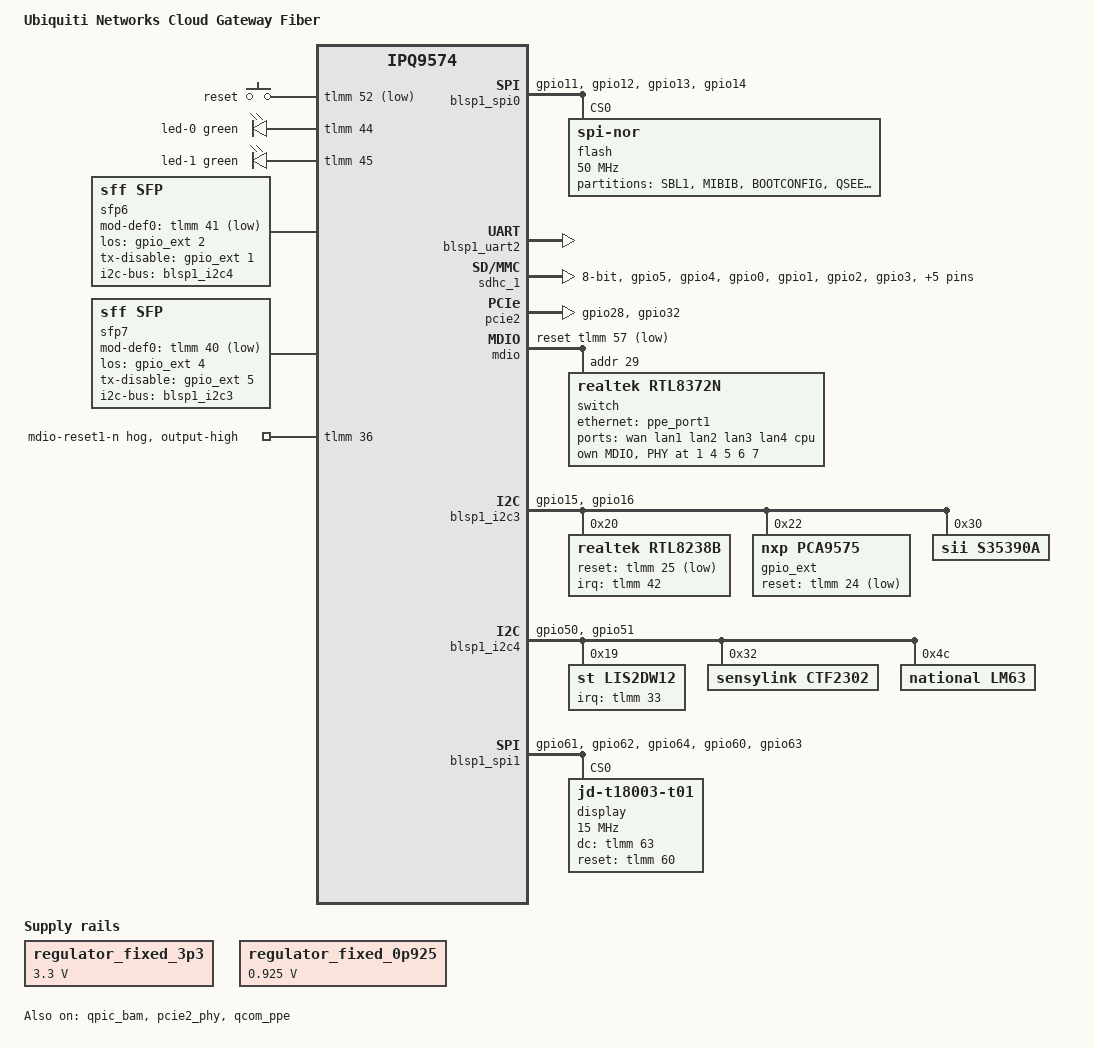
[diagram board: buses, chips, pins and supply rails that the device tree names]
// SPDX-License-Identifier: (GPL-2.0+ OR BSD-3-Clause)
/* UniFi Fiber Gateway
 *
 * Copyright (c) 2020-2021 The Linux Foundation. All rights reserved.
 * Copyright (c) 2022-2023 Qualcomm Innovation Center, Inc. All rights reserved.
 */

/dts-v1/;

#include <dt-bindings/gpio/gpio.h>
#include <dt-bindings/input/input.h>
#include <dt-bindings/leds/common.h>
#include "ipq9574.dtsi"

/ {
	model = "Ubiquiti Networks Cloud Gateway Fiber";
	compatible = "ubnt,ucgfiber", "qcom,ipq9574-ap-al02-c18", "qcom,ipq9574-al02", "qcom,ipq9574";

	aliases {
		serial0 = &blsp1_uart2;
	};

	chosen {
		stdout-path = "serial0:115200n8";
	};

	regulator_fixed_3p3: s3300 {
		compatible = "regulator-fixed";
		regulator-min-microvolt = <3300000>;
		regulator-max-microvolt = <3300000>;
		regulator-boot-on;
		regulator-always-on;
		regulator-name = "fixed_3p3";
	};

	regulator_fixed_0p925: s0925 {
		compatible = "regulator-fixed";
		regulator-min-microvolt = <925000>;
		regulator-max-microvolt = <925000>;
		regulator-boot-on;
		regulator-always-on;
		regulator-name = "fixed_0p925";
	};

	gpio-keys {
		compatible = "gpio-keys";
		pinctrl-0 = <&gpio_keys_default>;
		pinctrl-names = "default";

		button-reset {
			label = "reset";
			linux,code = <KEY_RESTART>;
			gpios = <&tlmm 52 GPIO_ACTIVE_LOW>;
			debounce-interval = <60>;
		};
	};

	leds {
		compatible = "gpio-leds";
		pinctrl-0 = <&gpio_leds_default>;
		pinctrl-names = "default";

		led-0 {
			color = <LED_COLOR_ID_GREEN>;
			function = "sfp";
			function-enumerator = <7>;
			gpios = <&tlmm 44 GPIO_ACTIVE_HIGH>;
		};

		led-1 {
			color = <LED_COLOR_ID_GREEN>;
			function = "sfp";
			function-enumerator = <6>;
			gpios = <&tlmm 45 GPIO_ACTIVE_HIGH>;
		};
	};

	sfp6: sfp6 {
		/* WAN port 7, connected to PPE port 6 */
		compatible = "sff,sfp";
		i2c-bus = <&blsp1_i2c4>;
		mod-def0-gpios = <&tlmm 41 GPIO_ACTIVE_LOW>;
		los-gpios = <&gpio_ext 2 GPIO_ACTIVE_HIGH>;
		tx-disable-gpios = <&gpio_ext 1 GPIO_ACTIVE_HIGH>;
		maximum-power-milliwatt = <3000>;
	};

	sfp7: sfp7 {
		/* WAN port 6, connected to PPE port 5 */
		compatible = "sff,sfp";
		i2c-bus = <&blsp1_i2c3>;
		mod-def0-gpios = <&tlmm 40 GPIO_ACTIVE_LOW>;
		los-gpios = <&gpio_ext 4 GPIO_ACTIVE_HIGH>;
		tx-disable-gpios = <&gpio_ext 5 GPIO_ACTIVE_HIGH>;
		maximum-power-milliwatt = <3000>;
	};
};

&blsp1_spi0 {
	pinctrl-0 = <&spi_0_pins>;
	pinctrl-names = "default";
	status = "okay";

	flash@0 {
		compatible = "jedec,spi-nor";
		reg = <0>;
		#address-cells = <1>;
		#size-cells = <1>;
		spi-max-frequency = <50000000>;

		partitions {
			compatible = "fixed-partitions";
			#address-cells = <1>;
			#size-cells = <1>;

			partition@0 {
				reg = <0x00 0xc0000>;
				label = "SBL1";
			};

			partition@c0000 {
				reg = <0xc0000 0x10000>;
				label = "MIBIB";
			};

			partition@d0000 {
				reg = <0xd0000 0x20000>;
				label = "BOOTCONFIG";
			};

			partition@f0000 {
				reg = <0xf0000 0x180000>;
				label = "QSEE";
			};

			partition@270000 {
				reg = <0x270000 0x10000>;
				label = "DEVCFG";
			};

			partition@280000 {
				reg = <0x280000 0x10000>;
				label = "APDP";
			};

			partition@290000 {
				reg = <0x290000 0x40000>;
				label = "TME";
			};

			partition@2d0000 {
				reg = <0x2d0000 0x20000>;
				label = "RPM";
			};

			partition@2f0000 {
				reg = <0x2f0000 0x10000>;
				label = "CDT";
			};

			partition@300000 {
				reg = <0x300000 0x10000>;
				label = "u-boot-env";
			};

			partition@310000 {
				reg = <0x310000 0xc0000>;
				label = "u-boot";
			};

			partition@3d0000 {
				reg = <0x3d0000 0x100000>;
				label = "ART";
			};

			partition@4d0000 {
				reg = <0x4d0000 0x10000>;
				label = "EEPROM";
				read-only;

				/*
				 * Offset 0 is the label MAC (base), offset 6 the same
				 * address with the locally administered bit set. The
				 * stock firmware gives each port its own address:
				 * 10G copper +0, LAN 1-4 +1..+4, SFP+ (PPE port 6) +5,
				 * SFP+ (PPE port 5) +6, and the switch CPU link the
				 * locally administered address +1.
				 */
				nvmem-layout {
					compatible = "fixed-layout";
					#address-cells = <1>;
					#size-cells = <1>;

					macaddr_eeprom_0: macaddr@0 {
						compatible = "mac-base";
						reg = <0x0 0x6>;
						#nvmem-cell-cells = <1>;
					};

					macaddr_eeprom_6: macaddr@6 {
						compatible = "mac-base";
						reg = <0x6 0x6>;
						#nvmem-cell-cells = <1>;
					};
				};
			};

			partition@4e0000 {
				reg = <0x4e0000 0x10000>;
				label = "Factory";
				read-only;
			};

			partition@4f0000 {
				reg = <0x4f0000 0x100000>;
				label = "config";
			};
		};
	};
};

&blsp1_uart2 {
	pinctrl-0 = <&uart2_pins>;
	pinctrl-names = "default";
	status = "okay";
};

&rpm_requests {
	regulators {
		compatible = "qcom,rpm-mp5496-regulators";

		ipq9574_s1: s1 {
		/*
		 * During kernel bootup, the SoC runs at 800MHz with 875mV set by the bootloaders.
		 * During regulator registration, kernel not knowing the initial voltage,
		 * considers it as zero and brings up the regulators with minimum supported voltage.
		 * Update the regulator-min-microvolt with SVS voltage of 725mV so that
		 * the regulators are brought up with 725mV which is sufficient for all the
		 * corner parts to operate at 800MHz
		 */
			regulator-min-microvolt = <725000>;
			regulator-max-microvolt = <1075000>;
		};

		mp5496_l2: l2 {
			regulator-min-microvolt = <1800000>;
			regulator-max-microvolt = <1800000>;
			regulator-always-on;
			regulator-boot-on;
		};

		mp5496_l5: l5 {
			regulator-min-microvolt = <1800000>;
			regulator-max-microvolt = <1800000>;
			regulator-always-on;
			regulator-boot-on;
		};
	};
};

&sleep_clk {
	clock-frequency = <32000>;
};

&tlmm {
	/*
	 * The stock firmware pulses two active-low resets for the devices on
	 * mdio@90000 (RTL8372N switch, RTL8261N PHY), GPIO 36 first, then
	 * GPIO 57. The MDIO bus takes a single reset-gpios, so GPIO 57 is the
	 * bus reset and GPIO 36 is released here, before the bus is scanned.
	 * Which line resets which chip is not known.
	 */
	mdio_reset_hog {
		gpio-hog;
		gpios = <36 GPIO_ACTIVE_HIGH>;
		output-high;
		line-name = "mdio-reset1-n";
	};

	spi_0_pins: spi-0-state {
		pins = "gpio11", "gpio12", "gpio13", "gpio14";
		function = "blsp0_spi";
		drive-strength = <8>;
		bias-disable;
	};

	gpio_keys_default: gpio-keys-default-state {
		pins = "gpio52";
		function = "gpio";
		drive-strength = <8>;
		bias-pull-up;
	};

	gpio_leds_default: gpio-leds-default-state {
		pins = "gpio44", "gpio45";
		function = "gpio";
		drive-strength = <8>;
		output-low;
		bias-pull-up;
	};

	pcie2_default: pcie2-default-state {
		perst-n-pins {
			pins = "gpio28";
			function = "gpio";
			drive-strength = <8>;
			bias-pull-down;
			output-low;
		};

		wake-n-pins {
			pins = "gpio32";
			function = "pcie2_wake";
			drive-strength = <6>;
			bias-pull-up;
		};
	};

	i2c3_pins: i2c3-pins {
		pins = "gpio15", "gpio16";
		function = "blsp3_i2c";
		drive-strength = <8>;
		bias-disable;
	};

	i2c4_pins: i2c4-pins {
		pins = "gpio50", "gpio51";
		function = "blsp4_i2c";
		drive-strength = <8>;
		bias-disable;
	};

	spi1_pins: spi1-pins {
		mux_0 {
			pins = "gpio61", "gpio62", "gpio64";
			function = "blsp1_spi";
			drive-strength = <8>;
			bias-disable;
		};

		mux_1 {
			pins = "gpio60", "gpio63";
			function = "gpio";
			drive-strength = <8>;
			bias-disable;
		};
	};

	sdc_default_state: sdc-default-state {
		clk-pins {
			pins = "gpio5";
			function = "sdc_clk";
			drive-strength = <8>;
			bias-disable;
		};

		cmd-pins {
			pins = "gpio4";
			function = "sdc_cmd";
			drive-strength = <8>;
			bias-pull-up;
		};

		data-pins {
			pins = "gpio0", "gpio1", "gpio2",
			       "gpio3", "gpio6", "gpio7",
			       "gpio8", "gpio9";
			function = "sdc_data";
			drive-strength = <8>;
			bias-pull-up;
		};

		rclk-pins {
			pins = "gpio10";
			function = "sdc_rclk";
			drive-strength = <8>;
			bias-pull-down;
		};
	};
};

&qpic_bam {
	status = "okay";
};

&ref_48mhz_clk {
	clock-div = <1>;
	clock-mult = <1>;
};

&xo_board_clk {
	clock-div = <2>;
	clock-mult = <1>;
};

&xo_clk {
	clock-frequency = <48000000>;
};

&sdhc_1 {
	pinctrl-0 = <&sdc_default_state>;
	pinctrl-names = "default";
	mmc-ddr-1_8v;
	mmc-hs200-1_8v;
	mmc-hs400-1_8v;
	mmc-hs400-enhanced-strobe;
	max-frequency = <384000000>;
	bus-width = <8>;
	status = "okay";
};

&pcie2_phy {
	status = "okay";
};

&pcie2 {
	pinctrl-0 = <&pcie2_default>;
	pinctrl-names = "default";

	perst-gpios = <&tlmm 28 GPIO_ACTIVE_LOW>;
	status = "okay";
};

&mdio {
	reset-gpios = <&tlmm 57 GPIO_ACTIVE_LOW>;
	reset-delay-us = <100000>;
	reset-post-delay-us = <100000>;
	status = "okay";

	/*
	 * RTL8372N switch (stock: "realtek,rtl8372", phy-id 0x1d). It is reset
	 * by the MDIO bus reset above and the GPIO 36 hog, not by a GPIO of
	 * its own.
	 *
	 * Port 8 (SerDes 1, "10gbase-r" in the stock DT) is taken to be the CPU
	 * link to ppe_port1; ports 4 to 7 are the four 2.5G LAN ports with
	 * internal PHYs. Port 3 (SerDes 0, "usxgmii") is the 10G copper port:
	 * the RTL8261N PHY at SMI address 1, reached through the switch's own
	 * MDIO bus. The stock firmware also marks port 3 as having an external
	 * PHY (rtk_port_extphyid_set); the driver does not, so link polling for
	 * that port is unverified, and the driver's author is unsure that its
	 * USXGMII mode works. Not known from the stock firmware and left at
	 * their defaults: the SerDes lane swaps and PHY polarity bits
	 * (sds*-rx/tx-swap, phy-mdi-reverse, phy-tx-polarity-swap), and which
	 * front panel socket is which port. The driver has no LED support, so
	 * the per-port LED settings of the stock DT are not carried over.
	 */
	switch@1d {
		compatible = "realtek,rtl8372n";
		reg = <29>;

		ports {
			#address-cells = <1>;
			#size-cells = <0>;

			port@3 {
				reg = <3>;
				label = "wan";
				nvmem-cells = <&macaddr_eeprom_0 0>;
				nvmem-cell-names = "mac-address";
				phy-mode = "usxgmii";
				phy-handle = <&switch_phy1>;
			};

			port@4 {
				reg = <4>;
				label = "lan1";
				nvmem-cells = <&macaddr_eeprom_0 1>;
				nvmem-cell-names = "mac-address";
				phy-mode = "internal";
				phy-handle = <&switch_phy4>;
			};

			port@5 {
				reg = <5>;
				label = "lan2";
				nvmem-cells = <&macaddr_eeprom_0 2>;
				nvmem-cell-names = "mac-address";
				phy-mode = "internal";
				phy-handle = <&switch_phy5>;
			};

			port@6 {
				reg = <6>;
				label = "lan3";
				nvmem-cells = <&macaddr_eeprom_0 3>;
				nvmem-cell-names = "mac-address";
				phy-mode = "internal";
				phy-handle = <&switch_phy6>;
			};

			port@7 {
				reg = <7>;
				label = "lan4";
				nvmem-cells = <&macaddr_eeprom_0 4>;
				nvmem-cell-names = "mac-address";
				phy-mode = "internal";
				phy-handle = <&switch_phy7>;
			};

			port@8 {
				reg = <8>;
				label = "cpu";
				ethernet = <&ppe_port1>;
				phy-mode = "10gbase-r";

				fixed-link {
					speed = <10000>;
					full-duplex;
					pause;
					asym-pause;
				};
			};
		};

		mdio {
			#address-cells = <1>;
			#size-cells = <0>;

			switch_phy1: ethernet-phy@1 {
				compatible = "ethernet-phy-ieee802.3-c45";
				reg = <1>;
			};

			switch_phy4: ethernet-phy@4 {
				compatible = "ethernet-phy-ieee802.3-c45";
				reg = <4>;
			};

			switch_phy5: ethernet-phy@5 {
				compatible = "ethernet-phy-ieee802.3-c45";
				reg = <5>;
			};

			switch_phy6: ethernet-phy@6 {
				compatible = "ethernet-phy-ieee802.3-c45";
				reg = <6>;
			};

			switch_phy7: ethernet-phy@7 {
				compatible = "ethernet-phy-ieee802.3-c45";
				reg = <7>;
			};
		};
	};
};

&qcom_ppe {
	status = "okay";

	ethernet-ports {
		#address-cells = <1>;
		#size-cells = <0>;

		ppe_port1: port@1 {
			reg = <1>;
			nvmem-cells = <&macaddr_eeprom_6 1>;
			nvmem-cell-names = "mac-address";
			phy-mode = "usxgmii";
			pcs-handle = <&pcs0_ch0>;
			clocks = <&nsscc NSS_CC_PORT1_MAC_CLK>,
				 <&nsscc NSS_CC_PORT1_RX_CLK>,
				 <&nsscc NSS_CC_PORT1_TX_CLK>;
			clock-names = "port_mac",
				      "port_rx",
				      "port_tx";
			resets = <&nsscc PORT1_MAC_ARES>,
				 <&nsscc PORT1_RX_ARES>,
				 <&nsscc PORT1_TX_ARES>;
			reset-names = "port_mac",
				      "port_rx",
				      "port_tx";

			/*
			 * Link to the RTL8372N switch (its port 8). The RTL8261N
			 * 10G PHY is behind that switch, on its port 3.
			 */
			fixed-link {
				speed = <10000>;
				full-duplex;
				pause;
			};
		};

		ppe_port5: port@5 {
			reg = <5>;
			label = "sfp1";
			nvmem-cells = <&macaddr_eeprom_0 6>;
			nvmem-cell-names = "mac-address";
			phy-mode = "usxgmii";
			managed = "in-band-status";
			pcs-handle = <&pcs1_ch0>;
			sfp = <&sfp7>;
			clocks = <&nsscc NSS_CC_PORT5_MAC_CLK>,
				 <&nsscc NSS_CC_PORT5_RX_CLK>,
				 <&nsscc NSS_CC_PORT5_TX_CLK>;
			clock-names = "port_mac",
				      "port_rx",
				      "port_tx";
			resets = <&nsscc PORT5_MAC_ARES>,
				 <&nsscc PORT5_RX_ARES>,
				 <&nsscc PORT5_TX_ARES>;
			reset-names = "port_mac",
				      "port_rx",
				      "port_tx";
		};

		ppe_port6: port@6 {
			reg = <6>;
			label = "sfp2";
			nvmem-cells = <&macaddr_eeprom_0 5>;
			nvmem-cell-names = "mac-address";
			phy-mode = "usxgmii";
			managed = "in-band-status";
			pcs-handle = <&pcs2_ch0>;
			sfp = <&sfp6>;
			clocks = <&nsscc NSS_CC_PORT6_MAC_CLK>,
				 <&nsscc NSS_CC_PORT6_RX_CLK>,
				 <&nsscc NSS_CC_PORT6_TX_CLK>;
			clock-names = "port_mac",
				      "port_rx",
				      "port_tx";
			resets = <&nsscc PORT6_MAC_ARES>,
				 <&nsscc PORT6_RX_ARES>,
				 <&nsscc PORT6_TX_ARES>;
			reset-names = "port_mac",
				      "port_rx",
				      "port_tx";
		};
	};
};

&blsp1_i2c3 {
	pinctrl-0 = <&i2c3_pins>;
	pinctrl-names = "default";
	status = "okay";

	rtl8238b@20 {
		compatible = "realtek,rtl8238b";
		reg = <0x20>;
		power-budget-mw = <51000>;
		reset = <&tlmm 25 GPIO_ACTIVE_LOW>;
		interrupts-extended = <&tlmm 42 IRQ_TYPE_EDGE_RISING>;

		port@3 {
			mode = "at";
			led = <&gpio_ext 11 GPIO_ACTIVE_HIGH>;
			indexes = <3 3>;
		};
	};

	gpio_ext: pca9575@22 {
		compatible = "nxp,pca9575";
		reg = <0x22>;
		gpio-controller;
		pupd-val = [ff 00];
		#gpio-cells = <0x02>;
		reset_gpios = <&tlmm 24 GPIO_ACTIVE_LOW>;
	};

	s35390a@30 {
		compatible = "sii,s35390a";
		reg = <0x30>;
	};
};

&blsp1_i2c4 {
	pinctrl-0 = <&i2c4_pins>;
	pinctrl-names = "default";
	status = "okay";

	lis2dw12@19 {
		compatible = "st,lis2dw12";
		reg = <0x19>;
		interrupts-extended = <&tlmm 33 IRQ_TYPE_EDGE_FALLING>;
	};

	ctf2302@32 {
		compatible = "sensylink,ctf2302";
		reg = <0x32>;
		ch-dis = <0x2000>;
	};

	lm63@4c {
		compatible = "national,lm63";
		reg = <0x4c>;
		tachometer-en;
	};
};

&blsp1_spi1 {
	status = "ok";
	pinctrl-0 = <&spi1_pins>;
	pinctrl-names = "default";

	display@0 {
//		compatible = "st7735fb";
		compatible = "jd-t18003-t01";
		reg = <0>;
		spi-max-frequency = <15000000>;
		dc-gpios = <&tlmm 63 GPIO_ACTIVE_HIGH>;
		reset-gpios = <&tlmm 60 GPIO_ACTIVE_HIGH>;
		status = "ok";
	};
};
